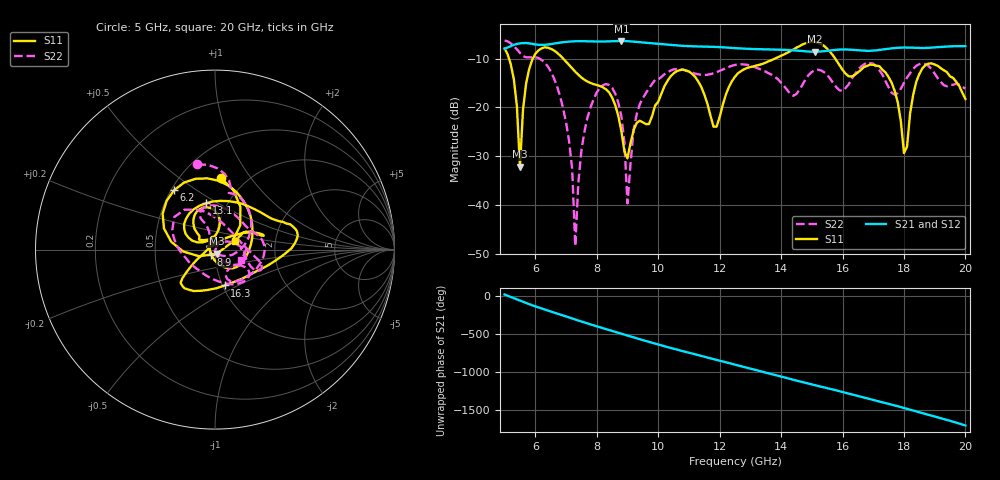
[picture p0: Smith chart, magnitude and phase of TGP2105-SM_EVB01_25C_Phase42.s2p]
! Date: Wednesday, June 05, 2013  1:51 PM
! Filename: C:\Data\Mike_Arnold\TGP2105-SM\Over_Temp\TGP2105-SM_EVB01_25C_Phase42.s2p
! Comments:
!^VDC(V):5.000
!^VDC(mA):0.059
!%Freq(GHz),S11(dB),S11(ang),S21(dB),S21(ang),S12(dB),S12(ang),S22(dB),S22(ang)
# GHz  S  DB  R  50
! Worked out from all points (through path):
!   151 points, 5 GHz to 20 GHz, reference 50 ohm
!   highest |S21| = -6.40 dB at 8.8 GHz (marker M1); lowest = -8.6 dB at 15.1 GHz (marker M2)
!   lowest |S11| = -32.1 dB at 5.5 GHz (marker M3), VSWR 1.05, Z = 51 - j2.29 ohm
!   |S11| at or under -10 dB: 5.142 GHz to 5.919 GHz (777.8 MHz wide, 14.1 % of centre); 6.905 GHz to 13.8 GHz (6.897 GHz wide, 66.6 % of centre); 15.76 GHz to end of sweep
!   |S22| runs from -48.4 to -6.3 dB; largest |S21 - S12| = 0.0022
!   S11 on the Smith chart (normalised r, x): 5 GHz: 0.76, +0.73; 6.2 GHz: 0.52, +0.41; 8.9 GHz: 0.96, -0.05; 13.1 GHz: 0.80, +0.44; 16.3 GHz: 1.03, -0.43; 20 GHz: 1.25, +0.12
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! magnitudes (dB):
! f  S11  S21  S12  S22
! 5 GHz  -7.9  -8.0  -8.0  -6.3
! 5.5 GHz  -32.1  -6.9  -6.9  -8.8
! 5.7 GHz  -15.1  -6.8  -6.8  -9.8
! 6.2 GHz  -7.9  -7.2  -7.2  -10.3
! 7 GHz  -10.6  -6.6  -6.6  -23.0
! 7.3 GHz  -12.7  -6.5  -6.5  -48.4
! 7.5 GHz  -13.9  -6.4  -6.5  -28.8
! 8.1 GHz  -15.6  -6.5  -6.5  -16.0
! 8.8 GHz  -24.8  -6.4  -6.4  -21.8
! 8.9 GHz  -29.0  -6.4  -6.4  -27.2
! 9 GHz  -30.4  -6.4  -6.5  -39.6
! 9.3 GHz  -23.2  -6.6  -6.6  -21.4
! 10 GHz  -18.8  -7.0  -7.0  -14.3
! 12.5 GHz  -13.7  -7.9  -7.9  -11.3
! 13.1 GHz  -11.6  -8.1  -8.1  -11.7
! 15 GHz  -6.6  -8.6  -8.6  -12.7
! 15.1 GHz  -6.6  -8.6  -8.6  -12.4
! 16.3 GHz  -13.7  -8.2  -8.2  -14.2
! 17.5 GHz  -13.8  -8.0  -8.0  -15.9
! 18 GHz  -29.3  -7.7  -7.8  -15.0
! 18.7 GHz  -11.3  -7.8  -7.9  -11.1
! 20 GHz  -18.3  -7.5  -7.5  -16.1
